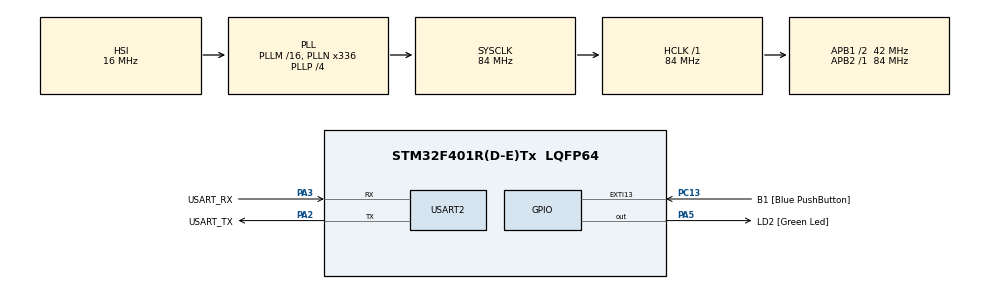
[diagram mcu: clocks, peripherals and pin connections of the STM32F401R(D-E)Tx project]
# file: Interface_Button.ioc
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Mcu.Family=STM32F4
Mcu.Name=STM32F401R(D-E)Tx
Mcu.Package=LQFP64
NVIC.PriorityGroup=NVIC_PRIORITYGROUP_4
NVIC.USART2_IRQn=true\:0\:0\:false\:false\:true\:true\:true\:true
PA13.GPIO_Label=TMS
PA13.Mode=Serial_Wire
PA13.Signal=SYS_JTMS-SWDIO
PA14.GPIO_Label=TCK
PA14.Mode=Serial_Wire
PA14.Signal=SYS_JTCK-SWCLK
PA2.GPIO_Label=USART_TX
PA2.GPIO_Mode=GPIO_MODE_AF_PP
PA2.GPIO_PuPd=GPIO_NOPULL
PA2.GPIO_Speed=GPIO_SPEED_FREQ_LOW
PA2.Mode=Asynchronous
PA2.Signal=USART2_TX
PA3.GPIO_Label=USART_RX
PA3.GPIO_Mode=GPIO_MODE_AF_PP
PA3.GPIO_PuPd=GPIO_NOPULL
PA3.GPIO_Speed=GPIO_SPEED_FREQ_LOW
PA3.Mode=Asynchronous
PA3.Signal=USART2_RX
PA5.GPIO_Label=LD2 [Green Led]
PA5.GPIO_Mode=GPIO_MODE_OUTPUT_PP
PA5.GPIO_PuPd=GPIO_NOPULL
PA5.GPIO_Speed=GPIO_SPEED_FREQ_LOW
PA5.Signal=GPIO_Output
PB3.GPIO_Label=SWO
PB3.Signal=SYS_JTDO-SWO
PC13-ANTI_TAMP.GPIO_Label=B1 [Blue PushButton]
PC13-ANTI_TAMP.GPIO_ModeDefaultEXTI=GPIO_MODE_IT_FALLING
PC13-ANTI_TAMP.GPIO_PuPd=GPIO_NOPULL
PC13-ANTI_TAMP.Signal=GPXTI13
PC14-OSC32_IN.Mode=LSE-External-Oscillator
PC14-OSC32_IN.Signal=RCC_OSC32_IN
PC15-OSC32_OUT.Mode=LSE-External-Oscillator
PC15-OSC32_OUT.Signal=RCC_OSC32_OUT
PH0\ -\ OSC_IN.Mode=HSE-External-Clock-Source
PH0\ -\ OSC_IN.Signal=RCC_OSC_IN
PH1\ -\ OSC_OUT.Mode=HSE-External-Clock-Source
PH1\ -\ OSC_OUT.Signal=RCC_OSC_OUT
ProjectManager.HeapSize=0x200
ProjectManager.StackSize=0x400
ProjectManager.TargetToolchain=CMake
RCC.48MHZClocksFreq_Value=48000000
RCC.AHBFreq_Value=84000000
RCC.APB1CLKDivider=RCC_HCLK_DIV2
RCC.APB1Freq_Value=42000000
RCC.APB1TimFreq_Value=84000000
RCC.APB2Freq_Value=84000000
RCC.APB2TimFreq_Value=84000000
RCC.CortexFreq_Value=84000000
RCC.HCLKFreq_Value=84000000
RCC.HSE_VALUE=8000000
RCC.HSI_VALUE=16000000
RCC.PLLN=336
RCC.PLLP=RCC_PLLP_DIV4
RCC.PLLQ=7
RCC.SYSCLKFreq_VALUE=84000000
RCC.SYSCLKSource=RCC_SYSCLKSOURCE_PLLCLK
RCC.VCOOutputFreq_Value=336000000
USART2.VirtualMode=VM_ASYNC
board=NUCLEO-F401RE

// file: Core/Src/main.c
/* USER CODE BEGIN Header */
/**
  ******************************************************************************
  * @file           : main.c
  * @brief          : 2-Button Force + 3-State Toggle Switch + Status LED + 6-LED Strip
  ******************************************************************************
  */
/* USER CODE END Header */
#include "main.h"
#include "usart.h"
#include "gpio.h"

/* USER CODE BEGIN Includes */
#include "interface_button.h"
#include <stdio.h>
#include <string.h>
/* USER CODE END Includes */

/* USER CODE BEGIN PV */
// 配置 4 路输入引脚：
// 保持 PC12 (加力) 和 PD2 (减力) 不变；新增 PC10 (拨动开关左档) 和 PC11 (拨动开关右档)
const AnkleBtnPin_t my_pins[INPUT_COUNT] = {
    [BTN_UP]       = PC12,
    [BTN_DOWN]     = PD2,
    [SW_POS_LEFT]  = PC10,
    [SW_POS_RIGHT] = PC11
};

AnkleCtrl_t ankle_ctrl = {
    .raw_value          = 0,
    .min_raw            = 0,
    .max_raw            = 20,
    .display_percentage = 0,
    .active_leds        = 0,
    .sw_state           = SW_STATE_CENTER_OFF,
    .btn_conflict       = false,
    .sw_fault           = false,
    .ui_updated         = false
};

static bool last_conflict_printed = false;
static bool last_fault_printed    = false;
/* USER CODE END PV */

void SystemClock_Config(void);
/* USER CODE BEGIN PFP */
static void UART_PrintStatus(const AnkleCtrl_t* ctrl);
/* USER CODE END PFP */

/* USER CODE BEGIN 0 */
static const char* Get_SwitchStateName(ToggleSwitchState_t state) {
    switch (state) {
        case SW_STATE_LEFT_ON:    return "LEFT_ON  (Mode 1)";
        case SW_STATE_RIGHT_ON:   return "RIGHT_ON (Mode 2)";
        case SW_STATE_CENTER_OFF:
        default:                  return "CENTER_OFF (Idle)";
    }
}

static void UART_PrintStatus(const AnkleCtrl_t* ctrl) {
    char buf[160];
    int len = snprintf(buf, sizeof(buf),
                       "[ANKLE UI] Switch: %-17s | Force: %2d.%d kg | Strip: %3d%% (%d/6 LEDs)\r\n",
                       Get_SwitchStateName(ctrl->sw_state),
                       ctrl->raw_value / 2,
                       (ctrl->raw_value % 2) * 5,
                       ctrl->display_percentage,
                       ctrl->active_leds);
    if (len > 0) {
        HAL_UART_Transmit(&huart2, (uint8_t*)buf, (uint16_t)len, 50);
    }
}
/* USER CODE END 0 */

int main(void)
{

  /* MCU Configuration--------------------------------------------------------*/
  HAL_Init();
  SystemClock_Config();

  /* Initialize all configured peripherals */
  MX_GPIO_Init();
  MX_USART2_UART_Init();

  /* USER CODE BEGIN 2 */
  AnkleUI_Init(my_pins);

  const char* banner =
      "\r\n======================================================================\r\n"
      "  Ankle Trainer Controller (Buttons + 3-Way Switch + Status LED + Strip)\r\n"
      "  [Force UP/DOWN] : PC12 / PD2 (Active-Low to GND, 0.0~10.0kg, Step 0.5)\r\n"
      "  [3-Way Switch]  : Left=PC10 | Right=PC11 | Center=OFF (Common to GND)\r\n"
      "  [LED Outputs]   : Power=PA5(LD2) | ForceStatus=PA7(D11) | Strip=PA6(D12)\r\n"
      "======================================================================\r\n";
  HAL_UART_Transmit(&huart2, (uint8_t*)banner, (uint16_t)strlen(banner), 100);

  // 开机立即同步一次拨动开关位置并打印
  AnkleUI_Update(&ankle_ctrl);
  UART_PrintStatus(&ankle_ctrl);
  ankle_ctrl.ui_updated = false;
  /* USER CODE END 2 */

  /* Infinite loop */
  /* USER CODE BEGIN WHILE */
  while (1)
  {
    AnkleUI_Update(&ankle_ctrl);

    // 防呆报警 1：加减力按钮同时按下
    if (ankle_ctrl.btn_conflict && !last_conflict_printed) {
        const char* msg = "[POKA-YOKE] WARNING: UP & DOWN pressed together! Force locked.\r\n";
        HAL_UART_Transmit(&huart2, (uint8_t*)msg, (uint16_t)strlen(msg), 50);
        last_conflict_printed = true;
    } else if (!ankle_ctrl.btn_conflict) {
        last_conflict_printed = false;
    }

    // 防呆报警 2：三态拨动开关左右两脚同时短路
    if (ankle_ctrl.sw_fault && !last_fault_printed) {
        const char* msg = "[POKA-YOKE] FAULT: Switch LEFT & RIGHT shorted! Fallback to OFF.\r\n";
        HAL_UART_Transmit(&huart2, (uint8_t*)msg, (uint16_t)strlen(msg), 50);
        last_fault_printed = true;
    } else if (!ankle_ctrl.sw_fault) {
        last_fault_printed = false;
    }

    // 无论是拨动了三态开关，还是按按钮改变了力，都实时打印最新一行状态
    if (ankle_ctrl.ui_updated) {
        UART_PrintStatus(&ankle_ctrl);
        ankle_ctrl.ui_updated = false;
    }

    HAL_Delay(1);
    /* USER CODE END WHILE */

  }
}

void SystemClock_Config(void)
{
  RCC_OscInitTypeDef RCC_OscInitStruct = {0};
  RCC_ClkInitTypeDef RCC_ClkInitStruct = {0};

  __HAL_RCC_PWR_CLK_ENABLE();
  __HAL_PWR_VOLTAGESCALING_CONFIG(PWR_REGULATOR_VOLTAGE_SCALE2);

  RCC_OscInitStruct.OscillatorType = RCC_OSCILLATORTYPE_HSI;
  RCC_OscInitStruct.HSIState = RCC_HSI_ON;
  RCC_OscInitStruct.HSICalibrationValue = RCC_HSICALIBRATION_DEFAULT;
  RCC_OscInitStruct.PLL.PLLState = RCC_PLL_ON;
  RCC_OscInitStruct.PLL.PLLSource = RCC_PLLSOURCE_HSI;
  RCC_OscInitStruct.PLL.PLLM = 16;
  RCC_OscInitStruct.PLL.PLLN = 336;
  RCC_OscInitStruct.PLL.PLLP = RCC_PLLP_DIV4;
  RCC_OscInitStruct.PLL.PLLQ = 7;
  if (HAL_RCC_OscConfig(&RCC_OscInitStruct) != HAL_OK)
  {
    Error_Handler();
  }

  RCC_ClkInitStruct.ClockType = RCC_CLOCKTYPE_HCLK|RCC_CLOCKTYPE_SYSCLK
                              |RCC_CLOCKTYPE_PCLK1|RCC_CLOCKTYPE_PCLK2;
  RCC_ClkInitStruct.SYSCLKSource = RCC_SYSCLKSOURCE_PLLCLK;
  RCC_ClkInitStruct.AHBCLKDivider = RCC_SYSCLK_DIV1;
  RCC_ClkInitStruct.APB1CLKDivider = RCC_HCLK_DIV2;
  RCC_ClkInitStruct.APB2CLKDivider = RCC_HCLK_DIV1;

  if (HAL_RCC_ClockConfig(&RCC_ClkInitStruct, FLASH_LATENCY_2) != HAL_OK)
  {
    Error_Handler();
  }
}

void Error_Handler(void)
{
  __disable_irq();
  while (1)
  {
  }
}
